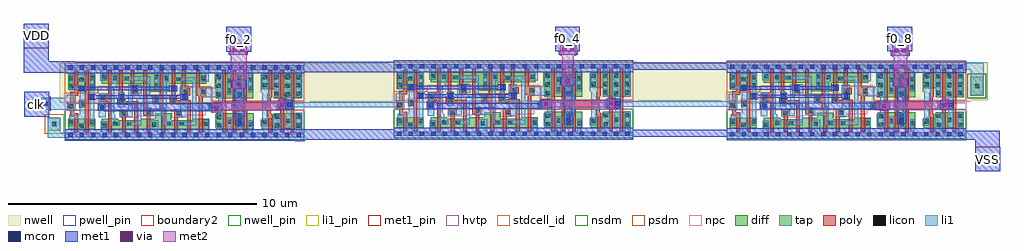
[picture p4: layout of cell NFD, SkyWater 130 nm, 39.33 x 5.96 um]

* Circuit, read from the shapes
.subckt NFD VDD VSS clk f0_2 f0_4 f0_8
XM1 VSS clk n1 VSS sky130_fd_pr__nfet_01v8 w=0.42 l=0.15
XM2 n2 n1 VSS VSS sky130_fd_pr__nfet_01v8 w=0.42 l=0.15
XM3 n3 sky130_fd_sc_hd__dfxbp_2_1/CLK VSS VSS sky130_fd_pr__nfet_01v8 w=0.42 l=0.15
XM4 n4 n1 n3 VSS sky130_fd_pr__nfet_01v8 w=0.36 l=0.15
XM5 n5 n2 n4 VSS sky130_fd_pr__nfet_01v8 w=0.36 l=0.15
XM6 VSS n6 n5 VSS sky130_fd_pr__nfet_01v8 w=0.42 l=0.15
XM7 n6 n4 VSS VSS sky130_fd_pr__nfet_01v8 w=0.64 l=0.15
XM8 n7 n2 n6 VSS sky130_fd_pr__nfet_01v8 w=0.36 l=0.15
XM9 n8 n1 n7 VSS sky130_fd_pr__nfet_01v8 w=0.36 l=0.15
XM10 VSS n9 n8 VSS sky130_fd_pr__nfet_01v8 w=0.42 l=0.15
XM11 VSS n7 n9 VSS sky130_fd_pr__nfet_01v8 w=0.65 l=0.15
XM12 f0_2 n9 VSS VSS sky130_fd_pr__nfet_01v8 w=0.65 l=0.15 m=2
XM13 VSS n9 n10 VSS sky130_fd_pr__nfet_01v8 w=0.42 l=0.15
XM14 sky130_fd_sc_hd__dfxbp_2_1/CLK n10 VSS VSS sky130_fd_pr__nfet_01v8 w=0.65 l=0.15 m=2
XM15 VSS sky130_fd_sc_hd__dfxbp_2_1/CLK n11 VSS sky130_fd_pr__nfet_01v8 w=0.42 l=0.15
XM16 n12 n11 VSS VSS sky130_fd_pr__nfet_01v8 w=0.42 l=0.15
XM17 n13 sky130_fd_sc_hd__dfxbp_2_2/CLK VSS VSS sky130_fd_pr__nfet_01v8 w=0.42 l=0.15
XM18 n14 n11 n13 VSS sky130_fd_pr__nfet_01v8 w=0.36 l=0.15
XM19 n15 n12 n14 VSS sky130_fd_pr__nfet_01v8 w=0.36 l=0.15
XM20 VSS n16 n15 VSS sky130_fd_pr__nfet_01v8 w=0.42 l=0.15
XM21 n16 n14 VSS VSS sky130_fd_pr__nfet_01v8 w=0.64 l=0.15
XM22 n17 n12 n16 VSS sky130_fd_pr__nfet_01v8 w=0.36 l=0.15
XM23 n18 n11 n17 VSS sky130_fd_pr__nfet_01v8 w=0.36 l=0.15
XM24 VSS n19 n18 VSS sky130_fd_pr__nfet_01v8 w=0.42 l=0.15
XM25 VSS n17 n19 VSS sky130_fd_pr__nfet_01v8 w=0.65 l=0.15
XM26 f0_4 n19 VSS VSS sky130_fd_pr__nfet_01v8 w=0.65 l=0.15 m=2
XM27 VSS n19 n20 VSS sky130_fd_pr__nfet_01v8 w=0.42 l=0.15
XM28 sky130_fd_sc_hd__dfxbp_2_2/CLK n20 VSS VSS sky130_fd_pr__nfet_01v8 w=0.65 l=0.15 m=2
XM29 VSS sky130_fd_sc_hd__dfxbp_2_2/CLK n21 VSS sky130_fd_pr__nfet_01v8 w=0.42 l=0.15
XM30 n22 n21 VSS VSS sky130_fd_pr__nfet_01v8 w=0.42 l=0.15
XM31 n23 sky130_fd_sc_hd__dfxbp_2_2/D VSS VSS sky130_fd_pr__nfet_01v8 w=0.42 l=0.15
XM32 n24 n21 n23 VSS sky130_fd_pr__nfet_01v8 w=0.36 l=0.15
XM33 n25 n22 n24 VSS sky130_fd_pr__nfet_01v8 w=0.36 l=0.15
XM34 VSS n26 n25 VSS sky130_fd_pr__nfet_01v8 w=0.42 l=0.15
XM35 n26 n24 VSS VSS sky130_fd_pr__nfet_01v8 w=0.64 l=0.15
XM36 n27 n22 n26 VSS sky130_fd_pr__nfet_01v8 w=0.36 l=0.15
XM37 n28 n21 n27 VSS sky130_fd_pr__nfet_01v8 w=0.36 l=0.15
XM38 VSS n29 n28 VSS sky130_fd_pr__nfet_01v8 w=0.42 l=0.15
XM39 VSS n27 n29 VSS sky130_fd_pr__nfet_01v8 w=0.65 l=0.15
XM40 f0_8 n29 VSS VSS sky130_fd_pr__nfet_01v8 w=0.65 l=0.15 m=2
XM41 VSS n29 n30 VSS sky130_fd_pr__nfet_01v8 w=0.42 l=0.15
XM42 sky130_fd_sc_hd__dfxbp_2_2/D n30 VSS VSS sky130_fd_pr__nfet_01v8 w=0.65 l=0.15 m=2
XM43 VDD clk n1 VDD sky130_fd_pr__pfet_01v8_hvt w=0.64 l=0.15
XM44 n2 n1 VDD VDD sky130_fd_pr__pfet_01v8_hvt w=0.64 l=0.15
XM45 n3 sky130_fd_sc_hd__dfxbp_2_1/CLK VDD VDD sky130_fd_pr__pfet_01v8_hvt w=0.42 l=0.15
XM46 n4 n2 n3 VDD sky130_fd_pr__pfet_01v8_hvt w=0.42 l=0.15
XM47 n31 n1 n4 VDD sky130_fd_pr__pfet_01v8_hvt w=0.42 l=0.15
XM48 VDD n6 n31 VDD sky130_fd_pr__pfet_01v8_hvt w=0.42 l=0.15
XM49 n6 n4 VDD VDD sky130_fd_pr__pfet_01v8_hvt w=0.75 l=0.15
XM50 n7 n1 n6 VDD sky130_fd_pr__pfet_01v8_hvt w=0.42 l=0.15
XM51 n32 n2 n7 VDD sky130_fd_pr__pfet_01v8_hvt w=0.42 l=0.15
XM52 VDD n9 n32 VDD sky130_fd_pr__pfet_01v8_hvt w=0.42 l=0.15
XM53 VDD n7 n9 VDD sky130_fd_pr__pfet_01v8_hvt w=1 l=0.15
XM54 f0_2 n9 VDD VDD sky130_fd_pr__pfet_01v8_hvt w=1 l=0.15 m=2
XM55 VDD n9 n10 VDD sky130_fd_pr__pfet_01v8_hvt w=0.64 l=0.15
XM56 sky130_fd_sc_hd__dfxbp_2_1/CLK n10 VDD VDD sky130_fd_pr__pfet_01v8_hvt w=1 l=0.15 m=2
XM57 VDD sky130_fd_sc_hd__dfxbp_2_1/CLK n11 VDD sky130_fd_pr__pfet_01v8_hvt w=0.64 l=0.15
XM58 n12 n11 VDD VDD sky130_fd_pr__pfet_01v8_hvt w=0.64 l=0.15
XM59 n13 sky130_fd_sc_hd__dfxbp_2_2/CLK VDD VDD sky130_fd_pr__pfet_01v8_hvt w=0.42 l=0.15
XM60 n14 n12 n13 VDD sky130_fd_pr__pfet_01v8_hvt w=0.42 l=0.15
XM61 n33 n11 n14 VDD sky130_fd_pr__pfet_01v8_hvt w=0.42 l=0.15
XM62 VDD n16 n33 VDD sky130_fd_pr__pfet_01v8_hvt w=0.42 l=0.15
XM63 n16 n14 VDD VDD sky130_fd_pr__pfet_01v8_hvt w=0.75 l=0.15
XM64 n17 n11 n16 VDD sky130_fd_pr__pfet_01v8_hvt w=0.42 l=0.15
XM65 n34 n12 n17 VDD sky130_fd_pr__pfet_01v8_hvt w=0.42 l=0.15
XM66 VDD n19 n34 VDD sky130_fd_pr__pfet_01v8_hvt w=0.42 l=0.15
XM67 VDD n17 n19 VDD sky130_fd_pr__pfet_01v8_hvt w=1 l=0.15
XM68 f0_4 n19 VDD VDD sky130_fd_pr__pfet_01v8_hvt w=1 l=0.15 m=2
XM69 VDD n19 n20 VDD sky130_fd_pr__pfet_01v8_hvt w=0.64 l=0.15
XM70 sky130_fd_sc_hd__dfxbp_2_2/CLK n20 VDD VDD sky130_fd_pr__pfet_01v8_hvt w=1 l=0.15 m=2
XM71 VDD sky130_fd_sc_hd__dfxbp_2_2/CLK n21 VDD sky130_fd_pr__pfet_01v8_hvt w=0.64 l=0.15
XM72 n22 n21 VDD VDD sky130_fd_pr__pfet_01v8_hvt w=0.64 l=0.15
XM73 n23 sky130_fd_sc_hd__dfxbp_2_2/D VDD VDD sky130_fd_pr__pfet_01v8_hvt w=0.42 l=0.15
XM74 n24 n22 n23 VDD sky130_fd_pr__pfet_01v8_hvt w=0.42 l=0.15
XM75 n35 n21 n24 VDD sky130_fd_pr__pfet_01v8_hvt w=0.42 l=0.15
XM76 VDD n26 n35 VDD sky130_fd_pr__pfet_01v8_hvt w=0.42 l=0.15
XM77 n26 n24 VDD VDD sky130_fd_pr__pfet_01v8_hvt w=0.75 l=0.15
XM78 n27 n21 n26 VDD sky130_fd_pr__pfet_01v8_hvt w=0.42 l=0.15
XM79 n36 n22 n27 VDD sky130_fd_pr__pfet_01v8_hvt w=0.42 l=0.15
XM80 VDD n29 n36 VDD sky130_fd_pr__pfet_01v8_hvt w=0.42 l=0.15
XM81 VDD n27 n29 VDD sky130_fd_pr__pfet_01v8_hvt w=1 l=0.15
XM82 f0_8 n29 VDD VDD sky130_fd_pr__pfet_01v8_hvt w=1 l=0.15 m=2
XM83 VDD n29 n30 VDD sky130_fd_pr__pfet_01v8_hvt w=0.64 l=0.15
XM84 sky130_fd_sc_hd__dfxbp_2_2/D n30 VDD VDD sky130_fd_pr__pfet_01v8_hvt w=1 l=0.15 m=2
.ends

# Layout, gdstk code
import gdstk
lib = gdstk.Library(unit=1e-6, precision=1e-09)
def R(c, l, rs):  # rectangles x0, y0, x1, y1
    for r in rs: c.add(gdstk.rectangle(r[:2], r[2:], *l))
def A(c, l, x, y, w, h, nx, ny, dx, dy):  # array of equal rectangles
    R(c, l, [(x+i*dx, y+j*dy, x+i*dx+w, y+j*dy+h) for i in range(nx) for j in range(ny)])
def P(c, l, *ps):  # polygons
    for p in ps: c.add(gdstk.Polygon(p, *l))
nwell_pin = (64, 16)
nwell = (64, 20)
diff = (65, 20)
tap = (65, 44)
poly = (66, 20)
licon = (66, 44)
li1_pin = (67, 16)
li1 = (67, 20)
mcon = (67, 44)
met1_pin = (68, 16)
met1 = (68, 20)
via = (68, 44)
met2 = (69, 20)
hvtp = (78, 44)
stdcell_id = (81, 4)
nsdm = (93, 44)
psdm = (94, 20)
npc = (95, 20)
pwell_pin = (122, 16)
boundary2 = (236, 0)

sky130_fd_sc_hd__dfxbp_2 = lib.new_cell('sky130_fd_sc_hd__dfxbp_2')
R(sky130_fd_sc_hd__dfxbp_2, nwell_pin, [(0.145,2.635,0.315,2.805), (0.145,2.635,0.315,2.805)])
R(sky130_fd_sc_hd__dfxbp_2, nwell, [(-0.19,1.305,9.85,2.91)])
R(sky130_fd_sc_hd__dfxbp_2, diff, [(0.135,0.235,1.225,0.655), (6.1,0.235,7.61,0.885), (6.08,1.485,7.6,2.485), (0.135,1.815,1.225,2.455)])
P(sky130_fd_sc_hd__dfxbp_2, diff, [(5.71,2.485),(1.495,2.485),(1.495,2.065),(3.395,2.065),(3.395,1.735),(4.23,1.735),(4.23,2.065),(5.71,2.065)],
  [(5.82,0.655),(5.16,0.655),(5.16,0.595),(4.3,0.595),(4.3,0.875),(3.65,0.875),(3.65,0.655),(3.055,0.655),(3.055,0.595),(2.155,0.595),(2.155,0.655),(1.495,0.655),(1.495,0.235),(5.82,0.235)],
  [(9.525,2.485),(7.945,2.485),(7.945,1.845),(8.43,1.845),(8.43,1.485),(9.525,1.485)],
  [(9.525,0.885),(8.43,0.885),(8.43,0.655),(7.945,0.655),(7.945,0.235),(9.525,0.235)])
P(sky130_fd_sc_hd__dfxbp_2, poly, [(0.545,0.88),(0.38,0.88),(0.38,1.59),(0.545,1.59),(0.545,2.585),(0.395,2.585),(0.395,1.74),(0.23,1.74),(0.23,1.325),(0.11,1.325),(0.11,0.995),(0.23,0.995),(0.23,0.73),(0.395,0.73),(0.395,0.105),(0.545,0.105)],
  [(0.965,2.585),(0.815,2.585),(0.815,1.37),(0.59,1.37),(0.59,1.1),(0.815,1.1),(0.815,0.105),(0.965,0.105)],
  [(1.905,2.615),(1.755,2.615),(1.755,1.665),(1.43,1.665),(1.43,1.335),(1.755,1.335),(1.755,0.105),(1.905,0.105)],
  [(2.545,1.005),(2.215,1.005),(2.215,0.735),(2.315,0.735),(2.315,0.105),(2.465,0.105),(2.465,0.735),(2.545,0.735)],
  [(2.96,1.905),(2.805,1.905),(2.805,2.615),(2.655,2.615),(2.655,1.575),(2.96,1.575)],
  [(2.96,1.365),(2.445,1.365),(2.445,1.485),(2.33,1.485),(2.33,2.615),(2.18,2.615),(2.18,1.485),(2.115,1.485),(2.115,1.215),(2.81,1.215),(2.81,0.105),(2.96,0.105)],
  [(3.54,1.065),(3.32,1.065),(3.32,2.615),(3.17,2.615),(3.17,0.795),(3.305,0.795),(3.305,0.105),(3.455,0.105),(3.455,0.795),(3.54,0.795)],
  [(4.05,1.1),(3.98,1.1),(3.98,2.615),(3.83,2.615),(3.83,1.545),(3.53,1.545),(3.53,1.275),(3.83,1.275),(3.83,0.95),(3.9,0.95),(3.9,0.105),(4.05,0.105)],
  [(4.725,1.035),(4.405,1.035),(4.405,0.105),(4.555,0.105),(4.555,0.705),(4.725,0.705)],
  [(5.05,1.875),(4.875,1.875),(4.875,2.615),(4.725,2.615),(4.725,1.875),(4.72,1.875),(4.72,1.605),(5.05,1.605)],
  [(5.085,1.395),(4.51,1.395),(4.51,1.575),(4.455,1.575),(4.455,2.615),(4.305,2.615),(4.305,1.575),(4.24,1.575),(4.24,1.245),(4.935,1.245),(4.935,0.105),(5.085,0.105)],
  [(5.7,1.905),(5.445,1.905),(5.445,2.615),(5.295,2.615),(5.295,1.575),(5.41,1.575),(5.41,0.105),(5.56,0.105),(5.56,1.575),(5.7,1.575)],
  [(6.51,1.325),(6.5,1.325),(6.5,2.615),(6.35,2.615),(6.35,1.325),(5.8,1.325),(5.8,0.995),(6.36,0.995),(6.36,0.105),(6.51,0.105)],
  [(8.355,0.85),(8.31,0.85),(8.31,1.515),(8.355,1.515),(8.355,2.615),(8.205,2.615),(8.205,1.665),(8.16,1.665),(8.16,1.325),(7.34,1.325),(7.34,2.615),(7.19,2.615),(7.19,1.325),(6.92,1.325),(6.92,2.615),(6.77,2.615),(6.77,1.325),(6.72,1.325),(6.72,0.995),(6.78,0.995),(6.78,0.105),(6.93,0.105),(6.93,0.995),(7.2,0.995),(7.2,0.105),(7.35,0.105),(7.35,0.995),(8.16,0.995),(8.16,0.73),(8.205,0.73),(8.205,0.105),(8.355,0.105)],
  [(9.26,2.615),(9.11,2.615),(9.11,1.325),(8.84,1.325),(8.84,2.615),(8.69,2.615),(8.69,1.325),(8.52,1.325),(8.52,0.995),(8.69,0.995),(8.69,0.105),(8.84,0.105),(8.84,0.995),(9.11,0.995),(9.11,0.105),(9.26,0.105)])
A(sky130_fd_sc_hd__dfxbp_2, licon, 6.12, 1.545, 0.17, 0.17, 1, 3, 0, 0.355)
A(sky130_fd_sc_hd__dfxbp_2, licon, 6.97, 1.545, 0.17, 0.17, 1, 3, 0, 0.34)
A(sky130_fd_sc_hd__dfxbp_2, licon, 8.89, 1.545, 0.17, 0.17, 1, 3, 0, 0.355)
A(sky130_fd_sc_hd__dfxbp_2, licon, 8.47, 1.575, 0.17, 0.17, 1, 3, 0, 0.34)
A(sky130_fd_sc_hd__dfxbp_2, licon, 9.315, 1.575, 0.17, 0.17, 1, 3, 0, 0.34)
R(sky130_fd_sc_hd__dfxbp_2, licon, [(0.595,0.295,0.765,0.465), (1.535,0.295,1.705,0.465), (8.47,0.295,8.64,0.465), (9.315,0.295,9.485,0.465), (6.14,0.3,6.31,0.47), (6.98,0.31,7.15,0.48), (3.51,0.335,3.68,0.505), (7.4,0.35,7.57,0.52), (1.96,0.365,2.13,0.535), (2.515,0.365,2.685,0.535), (4.105,0.365,4.275,0.535), (4.62,0.365,4.79,0.535), (5.61,0.365,5.78,0.535), (0.175,0.425,0.345,0.595), (1.015,0.425,1.185,0.595), (7.985,0.425,8.155,0.595), (6.56,0.445,6.73,0.615), (8.89,0.485,9.06,0.655), (6.14,0.64,6.31,0.81), (6.98,0.65,7.15,0.82), (8.47,0.655,8.64,0.825), (9.315,0.655,9.485,0.825), (2.295,0.785,2.465,0.955), (4.505,0.785,4.675,0.955), (3.29,0.845,3.46,1.015), (0.16,1.075,0.33,1.245), (5.85,1.075,6.02,1.245), (6.77,1.075,6.94,1.245), (8.59,1.075,8.76,1.245), (0.67,1.15,0.84,1.32), (2.195,1.265,2.365,1.435), (3.61,1.325,3.78,1.495), (4.29,1.325,4.46,1.495), (1.48,1.415,1.65,1.585), (2.74,1.655,2.91,1.825), (4.8,1.655,4.97,1.825), (5.48,1.655,5.65,1.825), (6.55,1.705,6.72,1.875), (7.39,1.8,7.56,1.97), (0.175,1.875,0.345,2.045), (1.015,1.875,1.185,2.045), (3.61,1.915,3.78,2.085), (7.985,1.915,8.155,2.085), (6.55,2.105,6.72,2.275), (0.595,2.135,0.765,2.305), (7.39,2.14,7.56,2.31), (4.505,2.165,4.675,2.335), (2.415,2.19,2.585,2.36), (0.175,2.215,0.345,2.385), (1.015,2.215,1.185,2.385), (1.955,2.215,2.125,2.385), (4.03,2.215,4.2,2.385), (5.5,2.215,5.67,2.385), (1.535,2.255,1.705,2.425), (3.61,2.255,3.78,2.425), (7.985,2.255,8.155,2.425)])
R(sky130_fd_sc_hd__dfxbp_2, li1_pin, [(6.95,0.425,7.12,0.595), (0.145,1.105,0.315,1.275), (1.445,1.105,1.615,1.275), (8.845,1.52,9.015,1.69)])
R(sky130_fd_sc_hd__dfxbp_2, li1, [(1.015,0.345,1.2,2.465), (1.37,0.715,1.65,1.665), (0.09,0.975,0.44,1.625), (2.16,1.125,2.4,1.72), (4.29,1.245,4.48,1.965)])
P(sky130_fd_sc_hd__dfxbp_2, li1, [(0.84,1.965),(0.345,1.965),(0.345,2.465),(0.175,2.465),(0.175,1.795),(0.61,1.795),(0.61,0.805),(0.175,0.805),(0.175,0.345),(0.345,0.345),(0.345,0.635),(0.84,0.635)],
  [(2.21,0.535),(2.045,0.535),(2.045,0.805),(1.99,0.805),(1.99,1.91),(2.125,1.91),(2.125,2.465),(1.875,2.465),(1.875,2.04),(1.82,2.04),(1.82,0.675),(1.875,0.675),(1.875,0.365),(2.21,0.365)],
  [(3.1,2.02),(2.57,2.02),(2.57,0.955),(2.215,0.955),(2.215,0.735),(2.74,0.735),(2.74,1.655),(3.1,1.655)],
  [(3.78,1.575),(3.44,1.575),(3.44,2.36),(2.335,2.36),(2.335,2.19),(3.27,2.19),(3.27,1.485),(2.91,1.485),(2.91,0.535),(2.405,0.535),(2.405,0.365),(3.08,0.365),(3.08,1.315),(3.61,1.315),(3.61,1.245),(3.78,1.245)],
  [(4.355,0.535),(4.12,0.535),(4.12,2.135),(4.2,2.135),(4.2,2.465),(3.95,2.465),(3.95,1.065),(3.49,1.065),(3.49,1.095),(3.29,1.095),(3.29,0.765),(3.95,0.765),(3.95,0.365),(4.355,0.365)],
  [(4.97,1.995),(4.65,1.995),(4.65,1.035),(4.505,1.035),(4.505,0.705),(4.97,0.705)],
  [(6.02,1.325),(5.31,1.325),(5.31,2.335),(4.425,2.335),(4.425,2.165),(5.14,2.165),(5.14,0.535),(4.525,0.535),(4.525,0.365),(5.31,0.365),(5.31,0.995),(6.02,0.995)],
  [(9.66,0.085),(9.565,0.085),(9.565,0.905),(9.315,0.905),(9.315,0.085),(8.72,0.085),(8.72,0.825),(8.39,0.825),(8.39,0.085),(7.57,0.085),(7.57,0.6),(7.4,0.6),(7.4,0.085),(6.73,0.085),(6.73,0.695),(6.56,0.695),(6.56,0.085),(5.795,0.085),(5.795,0.615),(5.585,0.615),(5.585,0.085),(3.77,0.085),(3.77,0.585),(3.4,0.585),(3.4,0.085),(1.705,0.085),(1.705,0.545),(1.455,0.545),(1.455,0.085),(0.845,0.085),(0.845,0.465),(0.515,0.465),(0.515,0.085),(0,0.085),(0,-0.085),(9.66,-0.085)],
  [(6.94,1.325),(6.38,1.325),(6.38,2.465),(6.04,2.465),(6.04,1.905),(5.48,1.905),(5.48,1.53),(6.19,1.53),(6.19,0.825),(6.06,0.825),(6.06,0.3),(6.39,0.3),(6.39,0.995),(6.94,0.995)],
  [(7.3,1.575),(7.22,1.575),(7.22,2.42),(6.89,2.42),(6.89,1.495),(7.065,1.495),(7.065,1.445),(7.11,1.445),(7.11,0.865),(7.055,0.865),(7.055,0.825),(6.9,0.825),(6.9,0.305),(7.23,0.305),(7.23,0.74),(7.3,0.74)],
  [(8.76,1.325),(8.235,1.325),(8.235,2.445),(7.905,2.445),(7.905,1.715),(7.965,1.715),(7.965,0.615),(7.905,0.615),(7.905,0.345),(8.165,0.345),(8.165,0.995),(8.76,0.995)],
  [(9.145,2.465),(8.81,2.465),(8.81,1.495),(8.93,1.495),(8.93,0.885),(8.89,0.885),(8.89,0.265),(9.145,0.265)],
  [(9.66,2.805),(0,2.805),(0,2.635),(0.515,2.635),(0.515,2.135),(0.845,2.135),(0.845,2.635),(1.44,2.635),(1.44,2.175),(1.705,2.175),(1.705,2.635),(3.61,2.635),(3.61,1.835),(3.78,1.835),(3.78,2.635),(5.49,2.635),(5.49,2.135),(5.805,2.135),(5.805,2.635),(6.55,2.635),(6.55,1.625),(6.72,1.625),(6.72,2.635),(7.39,2.635),(7.39,1.72),(7.565,1.72),(7.565,2.635),(8.425,2.635),(8.425,1.495),(8.64,1.495),(8.64,2.635),(9.315,2.635),(9.315,1.495),(9.565,1.495),(9.565,2.635),(9.66,2.635)])
A(sky130_fd_sc_hd__dfxbp_2, mcon, 0.145, -0.085, 0.17, 0.17, 21, 2, 0.46, 2.72)
R(sky130_fd_sc_hd__dfxbp_2, mcon, [(1.025,1.445,1.195,1.615), (2.215,1.445,2.385,1.615), (4.735,1.445,4.905,1.615), (0.63,1.785,0.8,1.955), (2.73,1.785,2.9,1.955), (4.3,1.785,4.47,1.955)])
R(sky130_fd_sc_hd__dfxbp_2, met1_pin, [(0.145,-0.085,0.315,0.085), (0.145,2.635,0.315,2.805)])
R(sky130_fd_sc_hd__dfxbp_2, met1, [(0,-0.24,9.66,0.24), (0,2.48,9.66,2.96)])
P(sky130_fd_sc_hd__dfxbp_2, met1, [(4.53,1.985),(4.24,1.985),(4.24,1.94),(2.96,1.94),(2.96,1.985),(2.67,1.985),(2.67,1.94),(0.86,1.94),(0.86,1.985),(0.57,1.985),(0.57,1.755),(0.86,1.755),(0.86,1.8),(2.67,1.8),(2.67,1.755),(2.96,1.755),(2.96,1.8),(4.24,1.8),(4.24,1.755),(4.53,1.755)],
  [(4.965,1.645),(4.675,1.645),(4.675,1.6),(2.445,1.6),(2.445,1.645),(2.155,1.645),(2.155,1.6),(1.255,1.6),(1.255,1.645),(0.965,1.645),(0.965,1.415),(1.255,1.415),(1.255,1.46),(2.155,1.46),(2.155,1.415),(2.445,1.415),(2.445,1.46),(4.675,1.46),(4.675,1.415),(4.965,1.415)])
R(sky130_fd_sc_hd__dfxbp_2, hvtp, [(0,1.25,9.66,2.72)])
R(sky130_fd_sc_hd__dfxbp_2, stdcell_id, [(0,0,9.66,2.72)])
R(sky130_fd_sc_hd__dfxbp_2, nsdm, [(0,-0.19,9.66,1.015)])
P(sky130_fd_sc_hd__dfxbp_2, psdm, [(9.66,2.91),(0,2.91),(0,1.685),(1.35,1.685),(1.35,1.935),(3.24,1.935),(3.24,1.605),(4.665,1.605),(4.665,1.935),(5.93,1.935),(5.93,1.355),(9.66,1.355)])
P(sky130_fd_sc_hd__dfxbp_2, npc, [(9.66,1.345),(5.91,1.345),(5.91,1.925),(4.675,1.925),(4.675,1.595),(3.085,1.595),(3.085,1.925),(2.095,1.925),(2.095,1.685),(1.38,1.685),(1.38,1.42),(0.565,1.42),(0.565,1.345),(0,1.345),(0,0.975),(2.195,0.975),(2.195,0.685),(2.905,0.685),(2.905,0.745),(3.59,0.745),(3.59,0.975),(4.32,0.975),(4.32,0.685),(4.775,0.685),(4.775,0.795),(5.675,0.795),(5.675,0.975),(9.66,0.975)])
R(sky130_fd_sc_hd__dfxbp_2, pwell_pin, [(0.145,-0.085,0.315,0.085), (0.145,-0.085,0.315,0.085)])
R(sky130_fd_sc_hd__dfxbp_2, boundary2, [(0,0,9.66,2.72)])
sky130_fd_sc_hd__dfxbp_2.add(gdstk.Label('VGND', (0.23,0), layer=68, texttype=5))
sky130_fd_sc_hd__dfxbp_2.add(gdstk.Label('VPWR', (0.23,2.72), layer=68, texttype=5))
sky130_fd_sc_hd__dfxbp_2.add(gdstk.Label('Q_N', (8.94,1.61), layer=67, texttype=5))
sky130_fd_sc_hd__dfxbp_2.add(gdstk.Label('D', (1.535,1.19), layer=67, texttype=5))
sky130_fd_sc_hd__dfxbp_2.add(gdstk.Label('CLK', (0.23,1.19), layer=67, texttype=5))
sky130_fd_sc_hd__dfxbp_2.add(gdstk.Label('Q', (7.035,0.51), layer=67, texttype=5))
sky130_fd_sc_hd__dfxbp_2.add(gdstk.Label('VNB', (0.23,0), layer=64, texttype=59))
sky130_fd_sc_hd__dfxbp_2.add(gdstk.Label('VNB', (0.23,0), layer=64, texttype=59))
sky130_fd_sc_hd__dfxbp_2.add(gdstk.Label('VPB', (0.23,2.72), layer=64, texttype=5))
sky130_fd_sc_hd__dfxbp_2.add(gdstk.Label('VPB', (0.23,2.72), layer=64, texttype=5))
sky130_fd_sc_hd__dfxbp_2.add(gdstk.Label('dfxbp_2', (0,0), layer=83, texttype=44))

nfd = lib.new_cell('NFD')
R(nfd, nwell, [(11.52,-8.87,15.07,-7.28), (24.78,-8.83,28.49,-7.26), (38.21,-8.8,39.05,-7.26)])
R(nfd, tap, [(1.17,-10.03,1.69,-9.5), (1.17,-9.5,1.64,-9.49), (38.35,-8.59,38.87,-7.85)])
R(nfd, licon, [(1.345,-9.845,1.515,-9.675), (38.54,-8.315,38.71,-8.145)])
R(nfd, li1, [(1.16,-10.31,1.99,-10.12), (1.16,-10.12,1.68,-9.5), (8.78,-9.77,9.03,-9.52), (35.45,-9.74,35.7,-9.49), (22.03,-9.73,22.28,-9.48), (3.24,-9.2,3.49,-8.97), (0.57,-9.19,2.21,-8.69), (29.91,-9.14,30.16,-8.91), (16.49,-9.13,16.74,-8.9), (37.45,-9.11,37.64,-8.86), (10.81,-9.1,11,-9.09), (10.81,-9.09,15.38,-8.88), (24.03,-9.06,28.75,-8.85), (10.81,-8.88,11,-8.85), (24.03,-8.85,24.22,-8.81), (38.36,-8.62,38.89,-7.57), (38.03,-7.57,38.89,-7.36), (38.13,-7.36,38.89,-7.33), (38.13,-7.33,38.86,-7.29)])
R(nfd, mcon, [(8.82,-9.73,8.99,-9.56), (35.49,-9.7,35.66,-9.53), (22.07,-9.69,22.24,-9.52), (3.28,-9.17,3.45,-9), (29.95,-9.11,30.12,-8.94), (16.53,-9.1,16.7,-8.93), (37.46,-9.07,37.63,-8.9), (10.82,-9.06,10.99,-8.89), (0.635,-9.025,0.805,-8.855), (0.995,-9.025,1.165,-8.855), (24.04,-9.02,24.21,-8.85)])
R(nfd, met1_pin, [(38.54,-11.67,39.54,-10.67), (0.23,-9.46,1.23,-8.46), (8.36,-6.84,9.36,-5.84), (21.61,-6.83,22.61,-5.83), (35,-6.83,36,-5.83), (0.21,-6.71,1.21,-5.71)])
R(nfd, met1, [(38.54,-11.67,39.54,-10.67), (38.54,-10.67,39.52,-10.4), (11.12,-10.45,11.52,-10.39), (37.75,-10.4,39.52,-10.03), (11.12,-10.39,15.64,-9.97), (24.35,-10.27,29.32,-9.99), (37.75,-10.03,38.18,-9.99), (8.72,-9.8,9.09,-9.54), (35.39,-9.77,35.76,-9.53), (21.97,-9.76,22.34,-9.45), (8.69,-9.54,9.09,-8.29), (35.38,-9.53,35.76,-8.22), (0.23,-9.46,1.23,-9.22), (21.97,-9.45,22.3,-8.18), (7.71,-9.25,8.2,-9.24), (3.43,-9.24,8.2,-9.23), (3.18,-9.23,8.2,-8.94), (0.23,-9.22,1.29,-8.66), (34.62,-9.18,35.11,-9.16), (29.85,-9.17,30.22,-9.16), (37.42,-9.17,37.67,-9.16), (10.43,-9.16,11.03,-8.8), (16.43,-9.16,16.8,-9.15), (29.85,-9.16,35.11,-8.91), (37.14,-9.16,37.67,-8.8), (16.43,-9.15,21.08,-9.11), (24,-9.12,24.25,-9.11), (16.43,-9.11,21.49,-8.92), (23.68,-9.11,24.25,-8.75), (3.43,-8.94,8.2,-8.93), (16.43,-8.92,16.8,-8.87), (21,-8.92,21.49,-8.79), (29.85,-8.91,30.22,-8.88), (34.62,-8.91,35.11,-8.86), (10.78,-8.8,11.03,-8.79), (0.23,-8.66,1.23,-8.46), (8.56,-8.29,9.19,-7.98), (35.22,-8.22,35.85,-7.91), (21.81,-8.18,22.44,-7.87), (0.21,-7.7,2.26,-7.23), (11.13,-7.67,15.47,-7.25), (24.33,-7.57,28.96,-7.29), (0.21,-7.23,1.21,-5.71), (35.14,-7,35.9,-6.83), (8.47,-6.96,9.23,-6.84), (21.76,-6.96,22.52,-6.83), (8.36,-6.84,9.36,-5.84), (21.61,-6.83,22.61,-5.83), (35,-6.83,36,-5.83)])
R(nfd, via, [(7.88,-9.165,8.03,-9.015), (34.79,-9.095,34.94,-8.945), (10.545,-9.055,10.695,-8.905), (37.255,-9.055,37.405,-8.905), (21.17,-9.025,21.32,-8.875), (23.795,-9.005,23.945,-8.855), (8.8,-8.21,8.95,-8.06), (35.46,-8.14,35.61,-7.99), (22.05,-8.1,22.2,-7.95), (35.285,-6.87,35.435,-6.72), (35.605,-6.87,35.755,-6.72), (8.615,-6.83,8.765,-6.68), (8.935,-6.83,9.085,-6.68), (21.905,-6.83,22.055,-6.68), (22.225,-6.83,22.375,-6.68)])
R(nfd, met2, [(7.76,-9.3,8.15,-9.25), (7.76,-9.25,8.2,-9.2), (8.69,-9.25,9.09,-9.21), (34.67,-9.23,35.06,-9.17), (8.69,-9.21,10.76,-9.2), (37.19,-9.21,37.47,-9.16), (7.76,-9.2,10.76,-8.88), (34.67,-9.17,36.78,-9.16), (21.05,-9.16,21.44,-9.08), (23.73,-9.16,24.01,-9.08), (34.67,-9.16,37.47,-8.85), (21.05,-9.08,24.01,-8.79), (8.11,-8.88,10.76,-8.87), (8.68,-8.87,9.09,-8.81), (10.42,-8.87,10.76,-8.81), (34.67,-8.85,36.78,-8.84), (37.19,-8.85,37.47,-8.75), (34.67,-8.84,35.06,-8.81), (10.48,-8.81,10.76,-8.75), (21.05,-8.79,21.44,-8.74), (23.73,-8.79,24.01,-8.7), (8.61,-8.34,9.14,-8), (35.27,-8.27,35.8,-7.92), (21.86,-8.23,22.39,-7.82), (8.54,-8,9.19,-7.01), (35.25,-7.92,35.81,-7.05), (21.89,-7.82,22.36,-7.01), (35.19,-7.05,35.85,-6.54), (8.52,-7.01,9.19,-6.92), (21.81,-7.01,22.47,-6.5), (8.52,-6.92,9.18,-6.5)])
R(nfd, nsdm, [(38.225,-8.715,38.995,-7.725)])
R(nfd, psdm, [(1.045,-10.155,1.815,-9.375), (1.045,-9.375,1.765,-9.365)])
nfd.add(gdstk.Reference(sky130_fd_sc_hd__dfxbp_2, (1.85,-10.2)))
nfd.add(gdstk.Reference(sky130_fd_sc_hd__dfxbp_2, (15.1,-10.15)))
nfd.add(gdstk.Reference(sky130_fd_sc_hd__dfxbp_2, (28.52,-10.17)))
nfd.add(gdstk.Label('VSS', (39.04,-11.17), layer=68, texttype=5))
nfd.add(gdstk.Label('f0_8', (35.5,-6.33), layer=68, texttype=5))
nfd.add(gdstk.Label('f0_4', (22.11,-6.33), layer=68, texttype=5))
nfd.add(gdstk.Label('f0_2', (8.86,-6.34), layer=68, texttype=5))
nfd.add(gdstk.Label('VDD', (0.71,-6.21), layer=68, texttype=5))
nfd.add(gdstk.Label('clk', (0.73,-8.96), layer=68, texttype=5))

lib.write_gds('NFD.gds')
